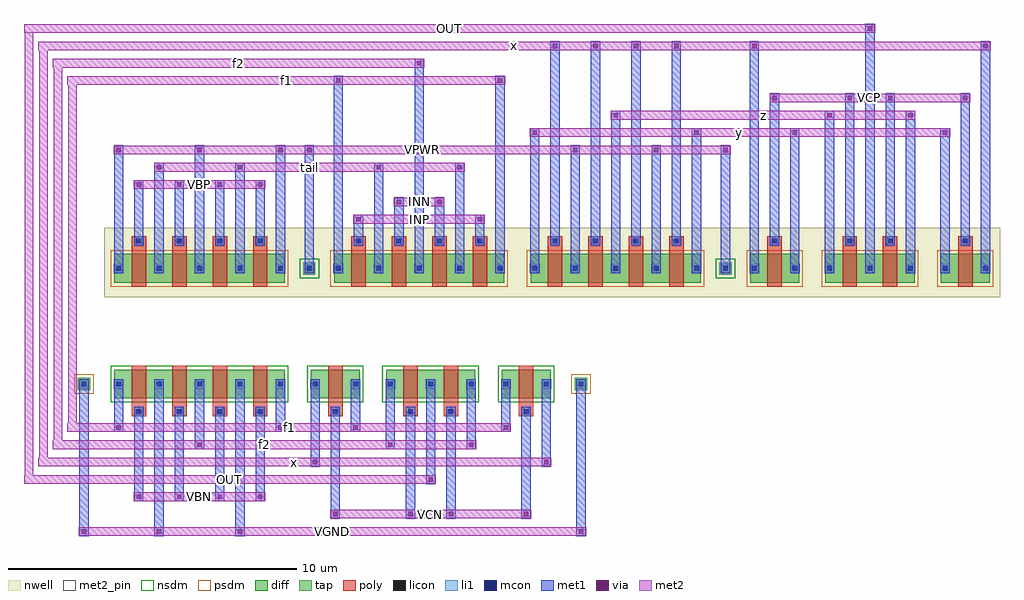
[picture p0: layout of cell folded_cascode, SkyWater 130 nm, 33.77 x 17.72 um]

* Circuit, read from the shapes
.subckt folded_cascode INN INP OUT VBN VBP VCN VCP VGND VPWR f1 f2 tail x y z
XM1 VGND VBN f1 VGND sky130_fd_pr__nfet_01v8 w=1 l=0.5 m=2
XM2 f2 VBN VGND VGND sky130_fd_pr__nfet_01v8 w=1 l=0.5 m=2
XM3 f1 VCN x VGND sky130_fd_pr__nfet_01v8 w=1 l=0.5 m=2
XM4 OUT VCN f2 VGND sky130_fd_pr__nfet_01v8 w=1 l=0.5 m=2
XM5 tail VBP VPWR VPWR sky130_fd_pr__pfet_01v8 w=1 l=0.5 m=4
XM6 tail INP f1 VPWR sky130_fd_pr__pfet_01v8 w=1 l=0.5 m=2
XM7 f2 INN tail VPWR sky130_fd_pr__pfet_01v8 w=1 l=0.5 m=2
XM8 VPWR x y VPWR sky130_fd_pr__pfet_01v8 w=1 l=0.5 m=2
XM9 z x VPWR VPWR sky130_fd_pr__pfet_01v8 w=1 l=0.5 m=2
XM10 y VCP x VPWR sky130_fd_pr__pfet_01v8 w=1 l=0.5 m=2
XM11 OUT VCP z VPWR sky130_fd_pr__pfet_01v8 w=1 l=0.5 m=2
.ends

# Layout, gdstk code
import gdstk
lib = gdstk.Library(unit=1e-6, precision=1e-09)
def R(c, l, rs):  # rectangles x0, y0, x1, y1
    for r in rs: c.add(gdstk.rectangle(r[:2], r[2:], *l))
def A(c, l, x, y, w, h, nx, ny, dx, dy):  # array of equal rectangles
    R(c, l, [(x+i*dx, y+j*dy, x+i*dx+w, y+j*dy+h) for i in range(nx) for j in range(ny)])
nwell = (64, 20)
diff = (65, 20)
tap = (65, 44)
poly = (66, 20)
licon = (66, 44)
li1 = (67, 20)
mcon = (67, 44)
met1 = (68, 20)
via = (68, 44)
met2_pin = (69, 16)
met2 = (69, 20)
nsdm = (93, 44)
psdm = (94, 20)

folded_cascode = lib.new_cell('folded_cascode')
R(folded_cascode, nwell, [(-0.5,-0.5,30.5,1.9)])
R(folded_cascode, diff, [(-0.145,-4,5.745,-3), (6.655,-4,8.345,-3), (9.255,-4,12.345,-3), (13.255,-4,14.945,-3), (-1.41,-3.71,-0.99,-3.29), (15.79,-3.71,16.21,-3.29), (-0.145,0,5.745,1), (7.455,0,13.345,1), (14.255,0,20.145,1), (21.855,0,23.545,1), (24.455,0,27.545,1), (28.455,0,30.145,1), (6.39,0.29,6.81,0.71), (20.79,0.29,21.21,0.71)])
R(folded_cascode, tap, [(-1.41,-3.71,-0.99,-3.29), (15.79,-3.71,16.21,-3.29), (6.39,0.29,6.81,0.71), (20.79,0.29,21.21,0.71)])
A(folded_cascode, poly, 0.45, -4.615, 0.5, 1.745, 4, 2, 1.4, 4.485)
A(folded_cascode, poly, 8.05, -0.13, 0.5, 1.745, 4, 1, 1.4, 0)
A(folded_cascode, poly, 14.85, -0.13, 0.5, 1.745, 4, 1, 1.4, 0)
R(folded_cascode, poly, [(7.25,-4.615,7.75,-2.87), (9.85,-4.615,10.35,-2.87), (11.25,-4.615,11.75,-2.87), (13.85,-4.615,14.35,-2.87), (22.45,-0.13,22.95,1.615), (25.05,-0.13,25.55,1.615), (26.45,-0.13,26.95,1.615), (29.05,-0.13,29.55,1.615)])
A(folded_cascode, licon, 0.615, -4.535, 0.17, 0.17, 4, 2, 1.4, 5.9)
A(folded_cascode, licon, -0.085, -3.585, 0.17, 0.17, 5, 2, 1.4, 4)
A(folded_cascode, licon, 9.315, -3.585, 0.17, 0.17, 3, 1, 1.4, 0)
A(folded_cascode, licon, 7.515, 0.415, 0.17, 0.17, 5, 1, 1.4, 0)
A(folded_cascode, licon, 14.315, 0.415, 0.17, 0.17, 5, 1, 1.4, 0)
A(folded_cascode, licon, 24.515, 0.415, 0.17, 0.17, 3, 1, 1.4, 0)
A(folded_cascode, licon, 8.215, 1.365, 0.17, 0.17, 4, 1, 1.4, 0)
A(folded_cascode, licon, 15.015, 1.365, 0.17, 0.17, 4, 1, 1.4, 0)
R(folded_cascode, licon, [(7.415,-4.535,7.585,-4.365), (10.015,-4.535,10.185,-4.365), (11.415,-4.535,11.585,-4.365), (14.015,-4.535,14.185,-4.365), (-1.285,-3.585,-1.115,-3.415), (6.715,-3.585,6.885,-3.415), (8.115,-3.585,8.285,-3.415), (13.315,-3.585,13.485,-3.415), (14.715,-3.585,14.885,-3.415), (15.915,-3.585,16.085,-3.415), (6.515,0.415,6.685,0.585), (20.915,0.415,21.085,0.585), (21.915,0.415,22.085,0.585), (23.315,0.415,23.485,0.585), (28.515,0.415,28.685,0.585), (29.915,0.415,30.085,0.585), (22.615,1.365,22.785,1.535), (25.215,1.365,25.385,1.535), (26.615,1.365,26.785,1.535), (29.215,1.365,29.385,1.535)])
A(folded_cascode, li1, 0.535, -4.615, 0.33, 0.33, 4, 2, 1.4, 5.9)
A(folded_cascode, li1, -0.165, -3.665, 0.33, 0.33, 5, 2, 1.4, 4)
A(folded_cascode, li1, 9.235, -3.665, 0.33, 0.33, 3, 1, 1.4, 0)
A(folded_cascode, li1, 7.435, 0.335, 0.33, 0.33, 5, 1, 1.4, 0)
A(folded_cascode, li1, 14.235, 0.335, 0.33, 0.33, 5, 1, 1.4, 0)
A(folded_cascode, li1, 24.435, 0.335, 0.33, 0.33, 3, 1, 1.4, 0)
A(folded_cascode, li1, 8.135, 1.285, 0.33, 0.33, 4, 1, 1.4, 0)
A(folded_cascode, li1, 14.935, 1.285, 0.33, 0.33, 4, 1, 1.4, 0)
R(folded_cascode, li1, [(7.335,-4.615,7.665,-4.285), (9.935,-4.615,10.265,-4.285), (11.335,-4.615,11.665,-4.285), (13.935,-4.615,14.265,-4.285), (-1.365,-3.665,-1.035,-3.335), (6.635,-3.665,6.965,-3.335), (8.035,-3.665,8.365,-3.335), (13.235,-3.665,13.565,-3.335), (14.635,-3.665,14.965,-3.335), (15.835,-3.665,16.165,-3.335), (6.435,0.335,6.765,0.665), (20.835,0.335,21.165,0.665), (21.835,0.335,22.165,0.665), (23.235,0.335,23.565,0.665), (28.435,0.335,28.765,0.665), (29.835,0.335,30.165,0.665), (22.535,1.285,22.865,1.615), (25.135,1.285,25.465,1.615), (26.535,1.285,26.865,1.615), (29.135,1.285,29.465,1.615)])
A(folded_cascode, mcon, 0.615, -4.535, 0.17, 0.17, 4, 2, 1.4, 5.9)
A(folded_cascode, mcon, -0.085, -3.585, 0.17, 0.17, 5, 2, 1.4, 4)
A(folded_cascode, mcon, 9.315, -3.585, 0.17, 0.17, 3, 1, 1.4, 0)
A(folded_cascode, mcon, 7.515, 0.415, 0.17, 0.17, 5, 1, 1.4, 0)
A(folded_cascode, mcon, 14.315, 0.415, 0.17, 0.17, 5, 1, 1.4, 0)
A(folded_cascode, mcon, 24.515, 0.415, 0.17, 0.17, 3, 1, 1.4, 0)
A(folded_cascode, mcon, 8.215, 1.365, 0.17, 0.17, 4, 1, 1.4, 0)
A(folded_cascode, mcon, 15.015, 1.365, 0.17, 0.17, 4, 1, 1.4, 0)
R(folded_cascode, mcon, [(7.415,-4.535,7.585,-4.365), (10.015,-4.535,10.185,-4.365), (11.415,-4.535,11.585,-4.365), (14.015,-4.535,14.185,-4.365), (-1.285,-3.585,-1.115,-3.415), (6.715,-3.585,6.885,-3.415), (8.115,-3.585,8.285,-3.415), (13.315,-3.585,13.485,-3.415), (14.715,-3.585,14.885,-3.415), (15.915,-3.585,16.085,-3.415), (6.515,0.415,6.685,0.585), (20.915,0.415,21.085,0.585), (21.915,0.415,22.085,0.585), (23.315,0.415,23.485,0.585), (28.515,0.415,28.685,0.585), (29.915,0.415,30.085,0.585), (22.615,1.365,22.785,1.535), (25.215,1.365,25.385,1.535), (26.615,1.365,26.785,1.535), (29.215,1.365,29.385,1.535)])
A(folded_cascode, met1, 0.54, -7.56, 0.32, 3.27, 4, 1, 1.4, 0)
A(folded_cascode, met1, -0.16, 0.34, 0.32, 4.42, 3, 1, 2.8, 0)
A(folded_cascode, met1, 0.54, 1.29, 0.32, 2.27, 4, 1, 1.4, 0)
A(folded_cascode, met1, 14.94, 1.29, 0.32, 7.07, 4, 1, 1.4, 0)
R(folded_cascode, met1, [(-1.36,-8.76,-1.04,-3.34), (1.24,-8.76,1.56,-3.34), (4.04,-8.76,4.36,-3.34), (15.84,-8.76,16.16,-3.34), (7.34,-8.16,7.66,-4.29), (9.94,-8.16,10.26,-4.29), (11.34,-8.16,11.66,-4.29), (13.94,-8.16,14.26,-4.29), (10.64,-6.96,10.96,-3.34), (6.64,-6.36,6.96,-3.34), (14.64,-6.36,14.96,-3.34), (2.64,-5.76,2.96,-3.34), (9.24,-5.76,9.56,-3.34), (12.04,-5.76,12.36,-3.34), (-0.16,-5.16,0.16,-3.34), (5.44,-5.16,5.76,-3.34), (8.04,-5.16,8.36,-3.34), (13.24,-5.16,13.56,-3.34), (1.24,0.34,1.56,4.16), (4.04,0.34,4.36,4.16), (6.44,0.34,6.76,4.76), (7.44,0.34,7.76,7.16), (8.84,0.34,9.16,4.16), (10.24,0.34,10.56,7.76), (11.64,0.34,11.96,4.16), (13.04,0.34,13.36,7.16), (14.24,0.34,14.56,5.36), (15.64,0.34,15.96,4.76), (17.04,0.34,17.36,5.96), (18.44,0.34,18.76,4.76), (19.84,0.34,20.16,5.36), (20.84,0.34,21.16,4.76), (21.84,0.34,22.16,8.36), (23.24,0.34,23.56,5.36), (24.44,0.34,24.76,5.96), (25.84,0.34,26.16,8.96), (27.24,0.34,27.56,5.96), (28.44,0.34,28.76,5.36), (29.84,0.34,30.16,8.36), (8.14,1.29,8.46,2.36), (9.54,1.29,9.86,2.96), (10.94,1.29,11.26,2.96), (12.34,1.29,12.66,2.36), (22.54,1.29,22.86,6.56), (25.14,1.29,25.46,6.56), (26.54,1.29,26.86,6.56), (29.14,1.29,29.46,6.56)])
A(folded_cascode, via, 0.625, -7.475, 0.15, 0.15, 4, 2, 1.4, 10.8)
A(folded_cascode, via, -0.075, 4.525, 0.15, 0.15, 3, 1, 2.8, 0)
A(folded_cascode, via, 15.025, 8.125, 0.15, 0.15, 4, 1, 1.4, 0)
R(folded_cascode, via, [(-1.275,-8.675,-1.125,-8.525), (1.325,-8.675,1.475,-8.525), (4.125,-8.675,4.275,-8.525), (15.925,-8.675,16.075,-8.525), (7.425,-8.075,7.575,-7.925), (10.025,-8.075,10.175,-7.925), (11.425,-8.075,11.575,-7.925), (14.025,-8.075,14.175,-7.925), (10.725,-6.875,10.875,-6.725), (6.725,-6.275,6.875,-6.125), (14.725,-6.275,14.875,-6.125), (2.725,-5.675,2.875,-5.525), (9.325,-5.675,9.475,-5.525), (12.125,-5.675,12.275,-5.525), (-0.075,-5.075,0.075,-4.925), (5.525,-5.075,5.675,-4.925), (8.125,-5.075,8.275,-4.925), (13.325,-5.075,13.475,-4.925), (8.225,2.125,8.375,2.275), (12.425,2.125,12.575,2.275), (9.625,2.725,9.775,2.875), (11.025,2.725,11.175,2.875), (1.325,3.925,1.475,4.075), (4.125,3.925,4.275,4.075), (8.925,3.925,9.075,4.075), (11.725,3.925,11.875,4.075), (6.525,4.525,6.675,4.675), (15.725,4.525,15.875,4.675), (18.525,4.525,18.675,4.675), (20.925,4.525,21.075,4.675), (14.325,5.125,14.475,5.275), (19.925,5.125,20.075,5.275), (23.325,5.125,23.475,5.275), (28.525,5.125,28.675,5.275), (17.125,5.725,17.275,5.875), (24.525,5.725,24.675,5.875), (27.325,5.725,27.475,5.875), (22.625,6.325,22.775,6.475), (25.225,6.325,25.375,6.475), (26.625,6.325,26.775,6.475), (29.225,6.325,29.375,6.475), (7.525,6.925,7.675,7.075), (13.125,6.925,13.275,7.075), (10.325,7.525,10.475,7.675), (21.925,8.125,22.075,8.275), (29.925,8.125,30.075,8.275), (25.925,8.725,26.075,8.875)])
R(folded_cascode, met2_pin, [(-1.375,-8.75,16.175,-8.45), (7.325,-8.15,14.275,-7.85), (0.525,-7.55,5.075,-7.25), (8.125,2.05,12.675,2.35), (9.525,2.65,11.275,2.95), (0.525,3.25,5.075,3.55), (-0.175,4.45,21.175,4.75), (22.525,6.25,29.475,6.55), (-3.275,8.65,26.175,8.95)])
R(folded_cascode, met2, [(-1.375,-8.75,16.175,-8.45), (7.325,-8.15,14.275,-7.85), (0.525,-7.55,5.075,-7.25), (-3.275,-6.95,10.975,-6.65), (-3.25,-6.95,-2.95,8.95), (-2.775,-6.35,14.975,-6.05), (-2.75,-6.35,-2.45,8.35), (-2.275,-5.75,12.375,-5.45), (-2.25,-5.75,-1.95,7.75), (-1.775,-5.15,13.575,-4.85), (-1.75,-5.15,-1.45,7.15), (8.125,2.05,12.675,2.35), (9.525,2.65,11.275,2.95), (0.525,3.25,5.075,3.55), (1.225,3.85,11.975,4.15), (-0.175,4.45,21.175,4.75), (14.225,5.05,28.775,5.35), (17.025,5.65,27.575,5.95), (22.525,6.25,29.475,6.55), (-1.775,6.85,13.375,7.15), (-2.275,7.45,10.575,7.75), (-2.775,8.05,30.175,8.35), (-3.275,8.65,26.175,8.95)])
R(folded_cascode, nsdm, [(-0.27,-4.125,5.87,-2.875), (6.53,-4.125,8.47,-2.875), (9.13,-4.125,12.47,-2.875), (13.13,-4.125,15.07,-2.875), (6.265,0.165,6.935,0.835), (20.665,0.165,21.335,0.835)])
R(folded_cascode, psdm, [(-1.535,-3.835,-0.865,-3.165), (15.665,-3.835,16.335,-3.165), (-0.27,-0.125,5.87,1.125), (7.33,-0.125,13.47,1.125), (14.13,-0.125,20.27,1.125), (21.73,-0.125,23.67,1.125), (24.33,-0.125,27.67,1.125), (28.33,-0.125,30.27,1.125)])
folded_cascode.add(gdstk.Label('VBP', (2.8,3.4), layer=69, texttype=5))
folded_cascode.add(gdstk.Label('INP', (10.4,2.2), layer=69, texttype=5))
folded_cascode.add(gdstk.Label('INN', (10.4,2.8), layer=69, texttype=5))
folded_cascode.add(gdstk.Label('x', (13.7,8.2), layer=69, texttype=5))
folded_cascode.add(gdstk.Label('VCP', (26,6.4), layer=69, texttype=5))
folded_cascode.add(gdstk.Label('VPWR', (10.5,4.6), layer=69, texttype=5))
folded_cascode.add(gdstk.Label('tail', (6.6,4), layer=69, texttype=5))
folded_cascode.add(gdstk.Label('f1', (5.8,7), layer=69, texttype=5))
folded_cascode.add(gdstk.Label('f2', (4.15,7.6), layer=69, texttype=5))
folded_cascode.add(gdstk.Label('y', (21.5,5.2), layer=69, texttype=5))
folded_cascode.add(gdstk.Label('z', (22.3,5.8), layer=69, texttype=5))
folded_cascode.add(gdstk.Label('OUT', (11.45,8.8), layer=69, texttype=5))
folded_cascode.add(gdstk.Label('VBN', (2.8,-7.4), layer=69, texttype=5))
folded_cascode.add(gdstk.Label('VCN', (10.8,-8), layer=69, texttype=5))
folded_cascode.add(gdstk.Label('f1', (5.9,-5), layer=69, texttype=5))
folded_cascode.add(gdstk.Label('VGND', (7.4,-8.6), layer=69, texttype=5))
folded_cascode.add(gdstk.Label('f2', (5.05,-5.6), layer=69, texttype=5))
folded_cascode.add(gdstk.Label('x', (6.1,-6.2), layer=69, texttype=5))
folded_cascode.add(gdstk.Label('OUT', (3.85,-6.8), layer=69, texttype=5))
folded_cascode.add(gdstk.Label('VBP', (2.8,3.4), layer=69, texttype=16))
folded_cascode.add(gdstk.Label('INP', (10.4,2.2), layer=69, texttype=16))
folded_cascode.add(gdstk.Label('INN', (10.4,2.8), layer=69, texttype=16))
folded_cascode.add(gdstk.Label('VCP', (26,6.4), layer=69, texttype=16))
folded_cascode.add(gdstk.Label('VPWR', (10.5,4.6), layer=69, texttype=16))
folded_cascode.add(gdstk.Label('OUT', (11.45,8.8), layer=69, texttype=16))
folded_cascode.add(gdstk.Label('VBN', (2.8,-7.4), layer=69, texttype=16))
folded_cascode.add(gdstk.Label('VCN', (10.8,-8), layer=69, texttype=16))
folded_cascode.add(gdstk.Label('VGND', (7.4,-8.6), layer=69, texttype=16))

lib.write_gds('folded_cascode.gds')
